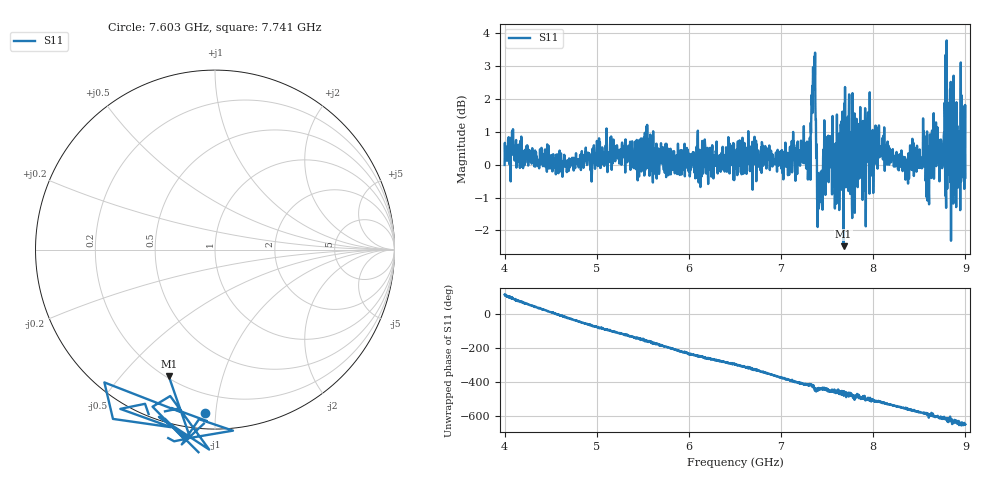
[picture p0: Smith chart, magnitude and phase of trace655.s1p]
! Created with skrf 1.8.0 (http://scikit-rf.org).
# Hz S RI R 50.0
!freq ReS11 ImS11
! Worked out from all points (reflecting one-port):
!   1601 points, 4 GHz to 9 GHz, reference 50 ohm
!   lowest |S11| = -2.5 dB at 7.678 GHz (marker M1), VSWR 7.06, Z = 10.4 - j34 ohm
!   phase of S11 starts at 116 deg and turns -766 deg over the sweep
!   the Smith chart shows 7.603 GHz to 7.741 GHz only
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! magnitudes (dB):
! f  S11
! 4 GHz  0.0
! 4.1 GHz  0.3
! 4.625 GHz  -0.3
! 5.25 GHz  0.3
! 5.875 GHz  -0.1
! 6.5 GHz  0.3
! 7.125 GHz  0.2
! 7.294 GHz  -0.2
! 7.353 GHz  2.6
! 7.369 GHz  3.4
! 7.397 GHz  -1.9
! 7.416 GHz  -1.1
! 7.534 GHz  0.8
! 7.609 GHz  -0.2
! 7.678 GHz  -2.5
! 7.75 GHz  -0.9
! 7.769 GHz  -1.2
! 7.8 GHz  -1.5
! 8.088 GHz  0.5
! 8.375 GHz  -0.4
! 8.541 GHz  1.4
! 8.612 GHz  -0.1
! 8.662 GHz  0.2
! 8.734 GHz  0.8
! 8.809 GHz  1.9
! 8.869 GHz  -1.2
! 8.972 GHz  0.7
! 9 GHz  -0.4
